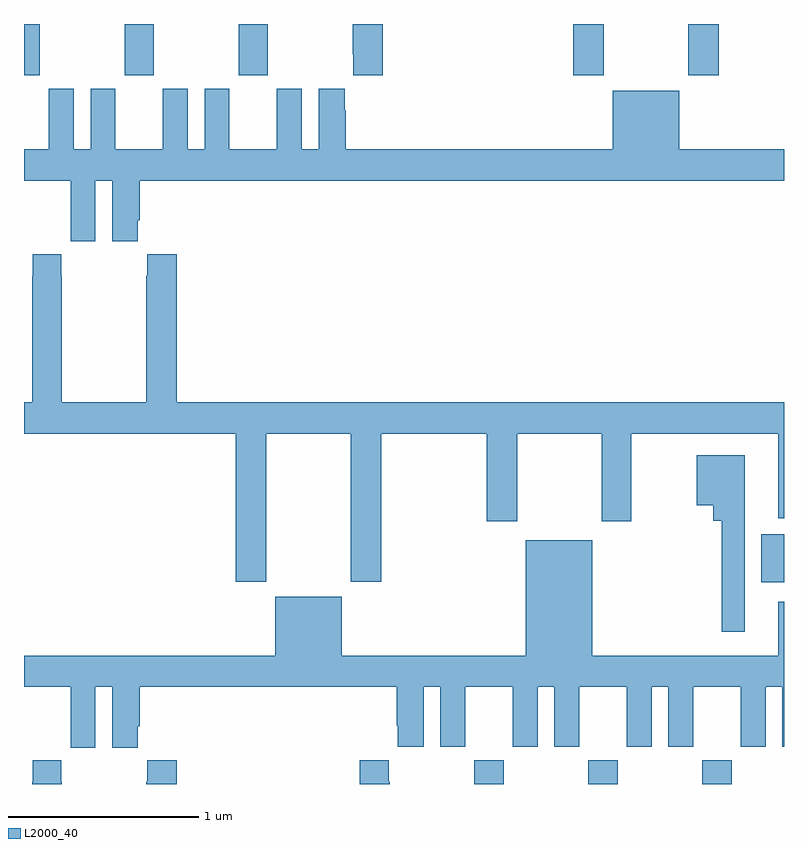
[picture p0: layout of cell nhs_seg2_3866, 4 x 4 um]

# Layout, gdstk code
import gdstk
lib = gdstk.Library(unit=1e-6, precision=1e-09)
def R(c, l, rs):  # rectangles x0, y0, x1, y1
    for r in rs: c.add(gdstk.rectangle(r[:2], r[2:], *l))
def A(c, l, x, y, w, h, nx, ny, dx, dy):  # array of equal rectangles
    R(c, l, [(x+i*dx, y+j*dy, x+i*dx+w, y+j*dy+h) for i in range(nx) for j in range(ny)])
def P(c, l, *ps):  # polygons
    for p in ps: c.add(gdstk.Polygon(p, *l))
L2000_40 = (2000, 40)

nhs_seg2_3866 = lib.new_cell('nhs_seg2_3866')
A(nhs_seg2_3866, L2000_40, 317.371, 637.8, 0.155, 0.124, 3, 1, 0.6, 0)
R(nhs_seg2_3866, L2000_40, [(318.881,638.861,319,639.115), (315,641.529,315.084,641.8), (315.529,641.529,315.684,641.8), (316.129,641.529,316.284,641.8), (317.891,641.529,318.051,641.8), (318.496,641.529,318.656,641.8)])
P(nhs_seg2_3866, L2000_40, [(316.889,641.8),(316.729,641.8),(316.729,641.641),(316.733,641.641),(316.733,641.529),(316.889,641.529)],
  [(315.376,640.976),(315.464,640.976),(315.464,640.656),(315.598,640.656),(315.598,640.768),(315.608,640.768),(315.608,640.976),(319,640.976),(319,641.14),(318.448,641.14),(318.448,641.449),(318.098,641.449),(318.098,641.14),(316.694,641.14),(316.694,641.345),(316.687,641.345),(316.687,641.458),(316.55,641.458),(316.55,641.14),(316.462,641.14),(316.462,641.458),(316.331,641.458),(316.331,641.14),(316.081,641.14),(316.081,641.458),(315.95,641.458),(315.95,641.14),(315.862,641.14),(315.862,641.458),(315.731,641.458),(315.731,641.14),(315.481,641.14),(315.481,641.458),(315.35,641.458),(315.35,641.14),(315.262,641.14),(315.262,641.458),(315.131,641.458),(315.131,641.14),(315,641.14),(315,640.976),(315.245,640.976),(315.245,640.768),(315.246,640.768),(315.246,640.656),(315.376,640.656)],
  [(316.275,639.644),(316.72,639.644),(316.72,638.865),(316.88,638.865),(316.88,639.644),(317.435,639.644),(317.435,639.183),(317.595,639.183),(317.595,639.644),(318.04,639.644),(318.04,639.183),(318.195,639.183),(318.195,639.644),(318.971,639.644),(318.971,639.2),(319,639.2),(319,639.808),(315.803,639.808),(315.803,640.588),(315.649,640.588),(315.649,640.475),(315.643,640.475),(315.643,639.808),(315.198,639.808),(315.198,640.475),(315.195,640.475),(315.195,640.588),(315.045,640.588),(315.045,640.475),(315.043,640.475),(315.043,639.808),(315,639.808),(315,639.644),(316.115,639.644),(316.115,638.865),(316.275,638.865)],
  [(318.793,639.529),(318.542,639.529),(318.542,639.266),(318.628,639.266),(318.628,639.185),(318.672,639.185),(318.672,638.601),(318.793,638.601)],
  [(315.376,638.312),(315.464,638.312),(315.464,637.992),(315.598,637.992),(315.598,638.104),(315.608,638.104),(315.608,638.312),(316.961,638.312),(316.961,638.107),(316.967,638.107),(316.967,637.995),(317.104,637.995),(317.104,638.312),(317.192,638.312),(317.192,637.995),(317.323,637.995),(317.323,638.312),(317.573,638.312),(317.573,637.995),(317.704,637.995),(317.704,638.312),(317.792,638.312),(317.792,637.995),(317.923,637.995),(317.923,638.312),(318.173,638.312),(318.173,637.995),(318.304,637.995),(318.304,638.312),(318.392,638.312),(318.392,637.995),(318.523,637.995),(318.523,638.312),(318.773,638.312),(318.773,637.995),(318.904,637.995),(318.904,638.312),(318.992,638.312),(318.992,637.995),(319,637.995),(319,638.758),(318.971,638.758),(318.971,638.476),(317.992,638.476),(317.992,639.082),(317.642,639.082),(317.642,638.476),(316.672,638.476),(316.672,638.785),(316.322,638.785),(316.322,638.476),(315,638.476),(315,638.312),(315.245,638.312),(315.245,638.104),(315.246,638.104),(315.246,637.992),(315.376,637.992)],
  [(315.198,637.811),(315.195,637.811),(315.195,637.924),(315.045,637.924),(315.045,637.811),(315.043,637.811),(315.043,637.8),(315.198,637.8)],
  [(315.803,637.924),(315.649,637.924),(315.649,637.811),(315.643,637.811),(315.643,637.8),(315.803,637.8)],
  [(316.926,637.811),(316.921,637.811),(316.921,637.924),(316.766,637.924),(316.766,637.8),(316.926,637.8)])

lib.write_gds('nhs_seg2_3866.gds')
